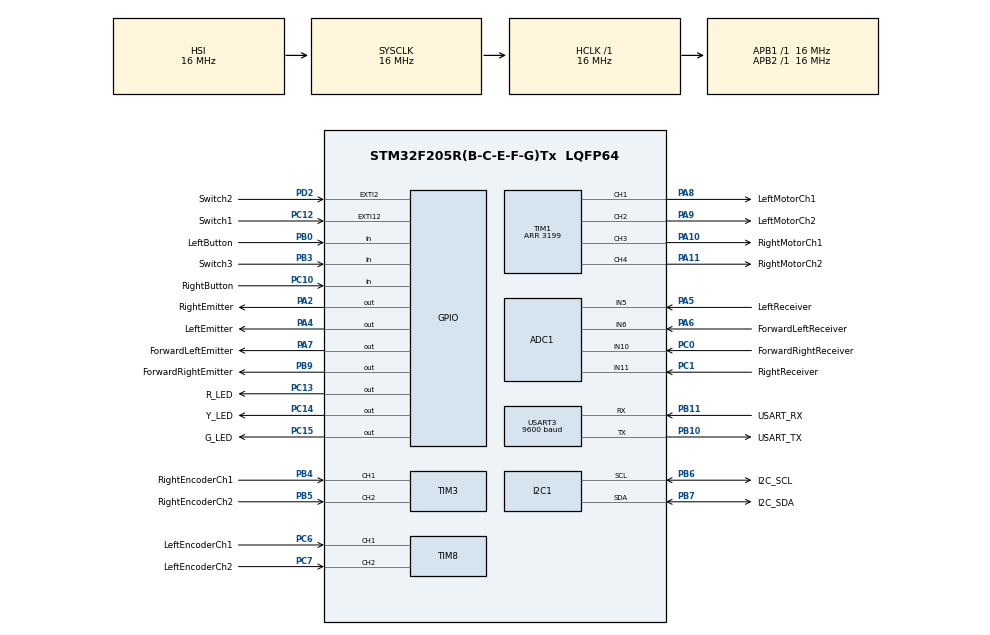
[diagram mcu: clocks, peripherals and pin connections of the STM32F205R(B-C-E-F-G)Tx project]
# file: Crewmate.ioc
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ADC1.Channel-0\#ChannelRegularConversion=ADC_CHANNEL_5
ADC1.ContinuousConvMode=ENABLE
ADC1.DMAContinuousRequests=ENABLE
ADC1.NbrOfConversionFlag=1
ADC1.master=1
Dma.ADC1.0.Direction=DMA_PERIPH_TO_MEMORY
Dma.ADC1.0.FIFOMode=DMA_FIFOMODE_DISABLE
Dma.ADC1.0.Instance=DMA2_Stream0
Dma.ADC1.0.MemDataAlignment=DMA_MDATAALIGN_HALFWORD
Dma.ADC1.0.MemInc=DMA_MINC_ENABLE
Dma.ADC1.0.Mode=DMA_CIRCULAR
Dma.ADC1.0.PeriphDataAlignment=DMA_PDATAALIGN_HALFWORD
Dma.ADC1.0.PeriphInc=DMA_PINC_DISABLE
Dma.ADC1.0.Priority=DMA_PRIORITY_LOW
Dma.Request0=ADC1
I2C1.I2C_Mode=I2C_Fast
Mcu.Family=STM32F2
Mcu.Name=STM32F205R(B-C-E-F-G)Tx
Mcu.Package=LQFP64
NVIC.DMA2_Stream0_IRQn=true\:0\:0\:false\:false\:true\:false\:true\:true
NVIC.EXTI15_10_IRQn=true\:0\:0\:false\:false\:true\:true\:true\:true
NVIC.EXTI2_IRQn=true\:0\:0\:false\:false\:true\:true\:true\:true
NVIC.PriorityGroup=NVIC_PRIORITYGROUP_4
NVIC.USART3_IRQn=true\:0\:0\:false\:false\:true\:true\:true\:true
PA10.GPIO_Label=RightMotorCh1
PA10.Signal=S_TIM1_CH3
PA11.GPIO_Label=RightMotorCh2
PA11.Signal=S_TIM1_CH4
PA2.GPIO_Label=RightEmitter
PA2.GPIO_PuPd=GPIO_NOPULL
PA2.Signal=GPIO_Output
PA3.GPIO_Label=Buzzer
PA3.Signal=S_TIM2_CH4
PA4.GPIO_Label=LeftEmitter
PA4.GPIO_PuPd=GPIO_NOPULL
PA4.Signal=GPIO_Output
PA5.GPIO_Label=LeftReceiver
PA5.Signal=ADCx_IN5
PA6.GPIO_Label=ForwardLeftReceiver
PA6.Signal=ADCx_IN6
PA7.GPIO_Label=ForwardLeftEmitter
PA7.GPIO_PuPd=GPIO_NOPULL
PA7.Signal=GPIO_Output
PA8.GPIO_Label=LeftMotorCh1
PA8.Signal=S_TIM1_CH1
PA9.GPIO_Label=LeftMotorCh2
PA9.Signal=S_TIM1_CH2
PB0.GPIO_Label=LeftButton
PB0.GPIO_PuPd=GPIO_PULLDOWN
PB0.Signal=GPIO_Input
PB10.GPIO_Label=USART_TX
PB10.Mode=Asynchronous
PB10.Signal=USART3_TX
PB11.GPIO_Label=USART_RX
PB11.Mode=Asynchronous
PB11.Signal=USART3_RX
PB3.GPIO_Label=Switch3
PB3.GPIO_PuPd=GPIO_PULLDOWN
PB3.Signal=GPIO_Input
PB4.GPIO_Label=RightEncoderCh1
PB4.Signal=S_TIM3_CH1
PB5.GPIO_Label=RightEncoderCh2
PB5.Signal=S_TIM3_CH2
PB6.GPIO_Label=I2C_SCL
PB6.Mode=I2C
PB6.Signal=I2C1_SCL
PB7.GPIO_Label=I2C_SDA
PB7.Mode=I2C
PB7.Signal=I2C1_SDA
PB9.GPIO_Label=ForwardRightEmitter
PB9.GPIO_PuPd=GPIO_NOPULL
PB9.Signal=GPIO_Output
PC0.GPIO_Label=ForwardRightReceiver
PC0.Signal=ADCx_IN10
PC1.GPIO_Label=RightReceiver
PC1.Signal=ADCx_IN11
PC10.GPIO_Label=RightButton
PC10.GPIO_PuPd=GPIO_PULLDOWN
PC10.Signal=GPIO_Input
PC12.GPIO_Label=Switch1
PC12.GPIO_ModeDefaultEXTI=GPIO_MODE_IT_RISING_FALLING
PC12.GPIO_PuPd=GPIO_PULLDOWN
PC12.Signal=GPXTI12
PC13.GPIO_Label=R_LED
PC13.Signal=GPIO_Output
PC14-OSC32_IN.GPIO_Label=Y_LED
PC14-OSC32_IN.Signal=GPIO_Output
PC15-OSC32_OUT.GPIO_Label=G_LED
PC15-OSC32_OUT.Signal=GPIO_Output
PC6.GPIO_Label=LeftEncoderCh1
PC6.Signal=S_TIM8_CH1
PC7.GPIO_Label=LeftEncoderCh2
PC7.Signal=S_TIM8_CH2
PD2.GPIO_Label=Switch2
PD2.GPIO_ModeDefaultEXTI=GPIO_MODE_IT_RISING_FALLING
PD2.GPIO_PuPd=GPIO_PULLDOWN
PD2.Signal=GPXTI2
ProjectManager.HeapSize=0x200
ProjectManager.StackSize=0x400
ProjectManager.TargetToolchain=STM32CubeIDE
RCC.48MHZClocksFreq_Value=48000000
RCC.AHBFreq_Value=16000000
RCC.APB1Freq_Value=16000000
RCC.APB2Freq_Value=16000000
RCC.CortexFreq_Value=16000000
RCC.HSE_VALUE=25000000
RCC.HSI_VALUE=16000000
RCC.LSE_VALUE=32768
RCC.SYSCLKFreq_VALUE=16000000
RCC.VCOOutputFreq_Value=192000000
SH.ADCx_IN10.0=ADC1_IN10,IN10
SH.ADCx_IN11.0=ADC1_IN11,IN11
SH.ADCx_IN5.0=ADC1_IN5,IN5
SH.ADCx_IN6.0=ADC1_IN6,IN6
SH.S_TIM1_CH1.0=TIM1_CH1,PWM Generation1 CH1
SH.S_TIM1_CH2.0=TIM1_CH2,PWM Generation2 CH2
SH.S_TIM1_CH3.0=TIM1_CH3,PWM Generation3 CH3
SH.S_TIM1_CH4.0=TIM1_CH4,PWM Generation4 CH4
SH.S_TIM2_CH4.0=TIM2_CH4
SH.S_TIM3_CH1.0=TIM3_CH1,Encoder_Interface
SH.S_TIM3_CH2.0=TIM3_CH2,Encoder_Interface
SH.S_TIM8_CH1.0=TIM8_CH1,Encoder_Interface
SH.S_TIM8_CH2.0=TIM8_CH2,Encoder_Interface
TIM1.Channel-PWM\ Generation1\ CH1=TIM_CHANNEL_1
TIM1.Channel-PWM\ Generation2\ CH2=TIM_CHANNEL_2
TIM1.Channel-PWM\ Generation3\ CH3=TIM_CHANNEL_3
TIM1.Channel-PWM\ Generation4\ CH4=TIM_CHANNEL_4
TIM1.Period=3199
TIM3.EncoderMode=TIM_ENCODERMODE_TI12
TIM8.EncoderMode=TIM_ENCODERMODE_TI12
USART3.BaudRate=9600
USART3.Mode=MODE_RX
USART3.VirtualMode=VM_ASYNC
board=custom

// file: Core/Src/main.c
/* USER CODE BEGIN Header */
/**
  ******************************************************************************
  * @file           : main.c
  * @brief          : Main program body
  ******************************************************************************
  * @attention
  *
  * Copyright (c) 2022 STMicroelectronics.
  * All rights reserved.
  *
  * This software is licensed under terms that can be found in the LICENSE file
  * in the root directory of this software component.
  * If no LICENSE file comes with this software, it is provided AS-IS.
  *
  ******************************************************************************
  */
/* USER CODE END Header */
#include "main.h"

/* USER CODE BEGIN Includes */

#include "encoders.h"
#include "motors.h"
#include "pid.h"
#include "controller.h"
#include "delay.h"
#include "irs.h"
#include "solver.h"
#include "utility.h"

/* USER CODE END Includes */

 ADC_HandleTypeDef hadc1;
DMA_HandleTypeDef hdma_adc1;

I2C_HandleTypeDef hi2c1;

TIM_HandleTypeDef htim1;
TIM_HandleTypeDef htim3;
TIM_HandleTypeDef htim8;

UART_HandleTypeDef huart3;

/* USER CODE BEGIN PV */

int16_t start_pressed = 0;

int16_t left_counts = 0;
int16_t right_counts = 0;

int16_t forwardLeftIRvalue = 0;
int16_t leftIRvalue = 0;
int16_t rightIRvalue = 0;
int16_t forwardRightIRvalue = 0;

int16_t irOffset_Set = 0;

int16_t walls_set = 0;

int16_t goal_forward_left = 0;
int16_t goal_forward_right = 0;
int16_t goal_left = 0;
int16_t goal_right = 0;

//float velocity_left = EXPLORE_SPEED;  // meters per second
//float velocity_right = EXPLORE_SPEED;

/* USER CODE END PV */

void SystemClock_Config(void);
static void MX_GPIO_Init(void);
static void MX_ADC1_Init(void);
static void MX_TIM1_Init(void);
static void MX_DMA_Init(void);
static void MX_TIM3_Init(void);
static void MX_TIM8_Init(void);
static void MX_I2C1_Init(void);
static void MX_USART3_UART_Init(void);

/* USER CODE BEGIN 0 */

#define MPU6050_ADDR 0xD0

#define SMPLRT_DIV_REG 0x19
#define GYRO_CONFIG_REG 0x1B
#define ACCEL_CONFIG_REG 0x1C
#define ACCEL_XOUT_H_REG 0x3B
#define TEMP_OUT_H_REG 0x41
#define GYRO_XOUT_H_REG 0x43
#define PWR_MGMT_1_REG 0x6B
#define WHO_AM_I_REG 0x75

#define BUFFER_LEN 1

uint8_t RX_BUFFER[BUFFER_LEN] = {'s'};

int16_t Accel_X_RAW = 0;
int16_t Accel_Y_RAW = 0;
int16_t Accel_Z_RAW = 0;

int16_t Gyro_X_RAW = 0;
int16_t Gyro_Y_RAW = 0;
int16_t Gyro_Z_RAW = 0;

float Ax, Ay, Az, Gx, Gy, Gz;

void MPU6050_Init (void)
{
	uint8_t check;
	uint8_t Data;

	// check device ID WHO_AM_I

	HAL_I2C_Mem_Read (&hi2c1, MPU6050_ADDR,WHO_AM_I_REG,1, &check, 1, 1000);

	if (check == 104)  // 0x68 will be returned by the sensor if everything goes well
	{
		// power management register 0X6B we should write all 0's to wake the sensor up
		Data = 0;
		HAL_I2C_Mem_Write(&hi2c1, MPU6050_ADDR, PWR_MGMT_1_REG, 1,&Data, 1, 1000);

		// Set DATA RATE of 1KHz by writing SMPLRT_DIV register
		Data = 0x07;
		HAL_I2C_Mem_Write(&hi2c1, MPU6050_ADDR, SMPLRT_DIV_REG, 1, &Data, 1, 1000);

		// Set accelerometer configuration in ACCEL_CONFIG Register
		// XA_ST=0,YA_ST=0,ZA_ST=0, FS_SEL=0 -> � 2g
		Data = 0x00;
		HAL_I2C_Mem_Write(&hi2c1, MPU6050_ADDR, ACCEL_CONFIG_REG, 1, &Data, 1, 1000);

		// Set Gyroscopic configuration in GYRO_CONFIG Register
		// XG_ST=0,YG_ST=0,ZG_ST=0, FS_SEL=0 -> � 250 �/s
		Data = 0x00;
		HAL_I2C_Mem_Write(&hi2c1, MPU6050_ADDR, GYRO_CONFIG_REG, 1, &Data, 1, 1000);
	}

}

void MPU6050_Read_Accel (void)
{
	uint8_t Rec_Data[6];

	// Read 6 BYTES of data starting from ACCEL_XOUT_H register

	HAL_I2C_Mem_Read (&hi2c1, MPU6050_ADDR, ACCEL_XOUT_H_REG, 1, Rec_Data, 6, 1000);

	Accel_X_RAW = (int16_t)(Rec_Data[0] << 8 | Rec_Data [1]);
	Accel_Y_RAW = (int16_t)(Rec_Data[2] << 8 | Rec_Data [3]);
	Accel_Z_RAW = (int16_t)(Rec_Data[4] << 8 | Rec_Data [5]);

	/*** convert the RAW values into acceleration in 'g'
	     we have to divide according to the Full scale value set in FS_SEL
	     I have configured FS_SEL = 0. So I am dividing by 16384.0
	     for more details check ACCEL_CONFIG Register              ****/

	Ax = Accel_X_RAW/16384.0;
	Ay = Accel_Y_RAW/16384.0;
	Az = Accel_Z_RAW/16384.0;
}

void MPU6050_Read_Gyro (void)
{
	uint8_t Rec_Data[6];

	// Read 6 BYTES of data starting from GYRO_XOUT_H register

	HAL_I2C_Mem_Read (&hi2c1, MPU6050_ADDR, GYRO_XOUT_H_REG, 1, Rec_Data, 6, 1000);

	Gyro_X_RAW = (int16_t)(Rec_Data[0] << 8 | Rec_Data [1]);
	Gyro_Y_RAW = (int16_t)(Rec_Data[2] << 8 | Rec_Data [3]);
	Gyro_Z_RAW = (int16_t)(Rec_Data[4] << 8 | Rec_Data [5]);

	/*** convert the RAW values into dps (�/s)
	     we have to divide according to the Full scale value set in FS_SEL
	     I have configured FS_SEL = 0. So I am dividing by 131.0
	     for more details check GYRO_CONFIG Register              ****/

	Gx = Gyro_X_RAW/131.0;
	Gy = Gyro_Y_RAW/131.0;
	Gz = Gyro_Z_RAW/131.0;
}

void solve(Algorithm alg) {
	Action nextMove = solver(alg);
	switch(nextMove) {
		case FORWARD:
//			move(1);
			if (alg == FLOODFILL)
			{
				int extra_moves = foresight(); // Already has curr position and heading
				for (int i = 0; i < extra_moves; i++)
				{
					solver(FLOODFILL);
				}
				move(1 + extra_moves);
			}
			else
				move(1);
			break;
		case LEFT:
			turn(-1);
			break;
		case RIGHT:
			turn(1);
			break;
		case IDLE:
			break;
	}
}

/* USER CODE END 0 */

int main(void)
{

  /* MCU Configuration--------------------------------------------------------*/

  /* Reset of all peripherals, Initializes the Flash interface and the Systick. */
  HAL_Init();

  /* USER CODE BEGIN Init */

  Delay_Init();

  /* USER CODE END Init */

  /* Configure the system clock */
  SystemClock_Config();

  /* Initialize all configured peripherals */
  MX_GPIO_Init();
  MX_DMA_Init();
  MX_ADC1_Init();
  MX_TIM1_Init();
  MX_TIM3_Init();
  MX_TIM8_Init();
  MX_I2C1_Init();
  MX_USART3_UART_Init();
  /* USER CODE BEGIN 2 */

  HAL_UART_Receive_IT(&huart3, RX_BUFFER, BUFFER_LEN);
  MPU6050_Init();

  HAL_TIM_Encoder_Start(&htim3, TIM_CHANNEL_ALL);
  HAL_TIM_Encoder_Start(&htim8, TIM_CHANNEL_ALL);

  HAL_TIM_PWM_Start(&htim1, TIM_CHANNEL_1);
  HAL_TIM_PWM_Start(&htim1, TIM_CHANNEL_2);
  HAL_TIM_PWM_Start(&htim1, TIM_CHANNEL_3);
  HAL_TIM_PWM_Start(&htim1, TIM_CHANNEL_4);

  HAL_Init();

	if (HAL_GPIO_ReadPin(Switch1_GPIO_Port, Switch1_Pin) == GPIO_PIN_SET)	// Read maze on start
		HAL_GPIO_WritePin(R_LED_GPIO_Port, R_LED_Pin, GPIO_PIN_SET);
	else
		HAL_GPIO_WritePin(R_LED_GPIO_Port, R_LED_Pin, GPIO_PIN_RESET);

	if (HAL_GPIO_ReadPin(Switch2_GPIO_Port, Switch2_Pin) == GPIO_PIN_SET)	// Save maze on finish
		HAL_GPIO_WritePin(Y_LED_GPIO_Port, Y_LED_Pin, GPIO_PIN_SET);
	else
		HAL_GPIO_WritePin(Y_LED_GPIO_Port, Y_LED_Pin, GPIO_PIN_RESET);

//	if (HAL_GPIO_ReadPin(Switch3_GPIO_Port, Switch3_Pin) == GPIO_PIN_SET)	// Do Floodfill
//		HAL_GPIO_WritePin(G_LED_GPIO_Port, G_LED_Pin, GPIO_PIN_SET);
//	else
//		HAL_GPIO_WritePin(G_LED_GPIO_Port, G_LED_Pin, GPIO_PIN_RESET);

  /* USER CODE END 2 */

  /* Infinite loop */
  /* USER CODE BEGIN WHILE */
  while (1)
  {

	  MPU6050_Read_Gyro();
	  MPU6050_Read_Accel();

	  forwardLeftIRvalue = readIR(IR_FORWARD_LEFT);
	  leftIRvalue = readIR(IR_LEFT);
	  rightIRvalue = readIR(IR_RIGHT);
	  forwardRightIRvalue = readIR(IR_FORWARD_RIGHT);

	  left_counts = getLeftEncoderCounts();
	  right_counts = getRightEncoderCounts();

		if (RX_BUFFER[0] == 'g')	// Bluetooth
			HAL_GPIO_WritePin(G_LED_GPIO_Port, G_LED_Pin, GPIO_PIN_SET);
		else
			HAL_GPIO_WritePin(G_LED_GPIO_Port, G_LED_Pin, GPIO_PIN_RESET);

	  if (HAL_GPIO_ReadPin(LeftButton_GPIO_Port, LeftButton_Pin))
	  {
		  setIRGoals(readIR(IR_FORWARD_LEFT), readIR(IR_FORWARD_RIGHT), readIR(IR_LEFT), readIR(IR_RIGHT));
		  irOffset_Set = 1;
		  loadMaze();
	  }

	  if (HAL_GPIO_ReadPin(RightButton_GPIO_Port, RightButton_Pin))
	  {
		  start_pressed = 1;
	  }
	  if (RX_BUFFER[0] == 'g')
	  {
		  move(0);
		  move(1);
		  RX_BUFFER[0] = 's';
	  }
	  if (RX_BUFFER[0] == 'a')
	  {
		  move(0);
		  turn(-1);
		  RX_BUFFER[0] = 's';
	  }
	  if (RX_BUFFER[0] == 'd')
	  {
		  move(0);
		  turn(1);
		  RX_BUFFER[0] = 's';
	  }

/*
 * 3 Modes: Regular, Explore, Zoom
 *
 * Regular: move cell by cell, stopping in the middle of each cell
 * 			simply run the solve function
 *
 * Explore: accelerate to explore velocity and only decelerate when we need to turn
 * 			run the explore function in controller.c
 *
 * Zoom: we know what the maze looks like, so we can run multiple floodfill moves at once
 * 			not implemented yet
 *
 *
 */
	  if (start_pressed)
	  {
		  move(0);

		  if (HAL_GPIO_ReadPin(Switch3_GPIO_Port, Switch3_Pin) == GPIO_PIN_SET)
			  solve(FLOODFILL);
		  else
			  solve(DEAD);
//		  if(frontWallCheck())
//		  {
//			  frontCorrection();
//		  }

//////////// INSERT YOUR COMMANDS BELOW HERE /////////////

/*
*
* 	move(x);  	// Replace x with the amount of squares you want to move forward
*
* 	turn(x);	// Replace x with the amount of 90 degree right turns you want to do
*
*/
//		  turn(5);

//////////// INSERT YOUR COMMANDS ABOVE HERE /////////////

		  // Demo Maze
//		  move(1);
//		  move(1);
//		  turn(-1);
//		  move(1);
//		  move(1);
//		  turn(-1);
//		  move(1);
//		  turn(-1);
//		  move(1);
//		  turn(1);
//		  move(1);
//		  turn(1);
//		  move(1);
//		  turn(1);
//		  turn(1);
//		  move(1);
//		  turn(-1);
//		  move(1);
//		  turn(-1);
//		  move(1);
//		  turn(1);
//		  move(1);
//		  turn(1);
//		  move(1);
//		  move(1);
//		  turn(1);
//		  move(1);
//		  move(1);
//		  turn(1);
//		  turn(1);

		  // One unit corner
//		  move(0);
//		  move(1);
//		  turn(1);
//		  move(1);
//		  turn(-2);
//		  move(1);
//		  turn(-1);
//		  move(1);
//		  turn(2);

// 		  Two unit straight line
//		  move(0);
//		  move(1);
//		  move(1);
//		  turn(1);
//		  turn(1);
//		  move(1);
//		  move(1);
//		  turn(1);
//		  turn(1);

// //		  360 Degrees
//		  move(0);
//		  turn(1);
//		  turn(1);
//		  turn(1);
//		  turn(1);

//		  start_pressed = 0;
	  }

    /* USER CODE END WHILE */

  }
}

void SystemClock_Config(void)
{
  RCC_OscInitTypeDef RCC_OscInitStruct = {0};
  RCC_ClkInitTypeDef RCC_ClkInitStruct = {0};

  /** Initializes the RCC Oscillators according to the specified parameters
  * in the RCC_OscInitTypeDef structure.
  */
  RCC_OscInitStruct.OscillatorType = RCC_OSCILLATORTYPE_HSI;
  RCC_OscInitStruct.HSIState = RCC_HSI_ON;
  RCC_OscInitStruct.HSICalibrationValue = RCC_HSICALIBRATION_DEFAULT;
  RCC_OscInitStruct.PLL.PLLState = RCC_PLL_NONE;
  if (HAL_RCC_OscConfig(&RCC_OscInitStruct) != HAL_OK)
  {
    Error_Handler();
  }

  /** Initializes the CPU, AHB and APB buses clocks
  */
  RCC_ClkInitStruct.ClockType = RCC_CLOCKTYPE_HCLK|RCC_CLOCKTYPE_SYSCLK
                              |RCC_CLOCKTYPE_PCLK1|RCC_CLOCKTYPE_PCLK2;
  RCC_ClkInitStruct.SYSCLKSource = RCC_SYSCLKSOURCE_HSI;
  RCC_ClkInitStruct.AHBCLKDivider = RCC_SYSCLK_DIV1;
  RCC_ClkInitStruct.APB1CLKDivider = RCC_HCLK_DIV1;
  RCC_ClkInitStruct.APB2CLKDivider = RCC_HCLK_DIV1;

  if (HAL_RCC_ClockConfig(&RCC_ClkInitStruct, FLASH_LATENCY_0) != HAL_OK)
  {
    Error_Handler();
  }
}

static void MX_ADC1_Init(void)
{

  ADC_ChannelConfTypeDef sConfig = {0};

  /** Configure the global features of the ADC (Clock, Resolution, Data Alignment and number of conversion)
  */
  hadc1.Instance = ADC1;
  hadc1.Init.ClockPrescaler = ADC_CLOCK_SYNC_PCLK_DIV2;
  hadc1.Init.Resolution = ADC_RESOLUTION_12B;
  hadc1.Init.ScanConvMode = DISABLE;
  hadc1.Init.ContinuousConvMode = ENABLE;
  hadc1.Init.DiscontinuousConvMode = DISABLE;
  hadc1.Init.ExternalTrigConvEdge = ADC_EXTERNALTRIGCONVEDGE_NONE;
  hadc1.Init.ExternalTrigConv = ADC_SOFTWARE_START;
  hadc1.Init.DataAlign = ADC_DATAALIGN_RIGHT;
  hadc1.Init.NbrOfConversion = 1;
  hadc1.Init.DMAContinuousRequests = ENABLE;
  hadc1.Init.EOCSelection = ADC_EOC_SINGLE_CONV;
  if (HAL_ADC_Init(&hadc1) != HAL_OK)
  {
    Error_Handler();
  }

  /** Configure for the selected ADC regular channel its corresponding rank in the sequencer and its sample time.
  */
  sConfig.Channel = ADC_CHANNEL_5;
  sConfig.Rank = 1;
  sConfig.SamplingTime = ADC_SAMPLETIME_3CYCLES;
  if (HAL_ADC_ConfigChannel(&hadc1, &sConfig) != HAL_OK)
  {
    Error_Handler();
  }

}

static void MX_I2C1_Init(void)
{

  hi2c1.Instance = I2C1;
  hi2c1.Init.ClockSpeed = 400000;
  hi2c1.Init.DutyCycle = I2C_DUTYCYCLE_2;
  hi2c1.Init.OwnAddress1 = 0;
  hi2c1.Init.AddressingMode = I2C_ADDRESSINGMODE_7BIT;
  hi2c1.Init.DualAddressMode = I2C_DUALADDRESS_DISABLE;
  hi2c1.Init.OwnAddress2 = 0;
  hi2c1.Init.GeneralCallMode = I2C_GENERALCALL_DISABLE;
  hi2c1.Init.NoStretchMode = I2C_NOSTRETCH_DISABLE;
  if (HAL_I2C_Init(&hi2c1) != HAL_OK)
  {
    Error_Handler();
  }

}

static void MX_TIM1_Init(void)
{

  TIM_MasterConfigTypeDef sMasterConfig = {0};
  TIM_OC_InitTypeDef sConfigOC = {0};
  TIM_BreakDeadTimeConfigTypeDef sBreakDeadTimeConfig = {0};

  htim1.Instance = TIM1;
  htim1.Init.Prescaler = 0;
  htim1.Init.CounterMode = TIM_COUNTERMODE_UP;
  htim1.Init.Period = 3199;
  htim1.Init.ClockDivision = TIM_CLOCKDIVISION_DIV1;
  htim1.Init.RepetitionCounter = 0;
  htim1.Init.AutoReloadPreload = TIM_AUTORELOAD_PRELOAD_DISABLE;
  if (HAL_TIM_PWM_Init(&htim1) != HAL_OK)
  {
    Error_Handler();
  }
  sMasterConfig.MasterOutputTrigger = TIM_TRGO_RESET;
  sMasterConfig.MasterSlaveMode = TIM_MASTERSLAVEMODE_DISABLE;
  if (HAL_TIMEx_MasterConfigSynchronization(&htim1, &sMasterConfig) != HAL_OK)
  {
    Error_Handler();
  }
  sConfigOC.OCMode = TIM_OCMODE_PWM1;
  sConfigOC.Pulse = 0;
  sConfigOC.OCPolarity = TIM_OCPOLARITY_HIGH;
  sConfigOC.OCNPolarity = TIM_OCNPOLARITY_HIGH;
  sConfigOC.OCFastMode = TIM_OCFAST_DISABLE;
  sConfigOC.OCIdleState = TIM_OCIDLESTATE_RESET;
  sConfigOC.OCNIdleState = TIM_OCNIDLESTATE_RESET;
  if (HAL_TIM_PWM_ConfigChannel(&htim1, &sConfigOC, TIM_CHANNEL_1) != HAL_OK)
  {
    Error_Handler();
  }
  if (HAL_TIM_PWM_ConfigChannel(&htim1, &sConfigOC, TIM_CHANNEL_2) != HAL_OK)
  {
    Error_Handler();
  }
  if (HAL_TIM_PWM_ConfigChannel(&htim1, &sConfigOC, TIM_CHANNEL_3) != HAL_OK)
  {
    Error_Handler();
  }
  if (HAL_TIM_PWM_ConfigChannel(&htim1, &sConfigOC, TIM_CHANNEL_4) != HAL_OK)
  {
    Error_Handler();
  }
  sBreakDeadTimeConfig.OffStateRunMode = TIM_OSSR_DISABLE;
  sBreakDeadTimeConfig.OffStateIDLEMode = TIM_OSSI_DISABLE;
  sBreakDeadTimeConfig.LockLevel = TIM_LOCKLEVEL_OFF;
  sBreakDeadTimeConfig.DeadTime = 0;
  sBreakDeadTimeConfig.BreakState = TIM_BREAK_DISABLE;
  sBreakDeadTimeConfig.BreakPolarity = TIM_BREAKPOLARITY_HIGH;
  sBreakDeadTimeConfig.AutomaticOutput = TIM_AUTOMATICOUTPUT_DISABLE;
  if (HAL_TIMEx_ConfigBreakDeadTime(&htim1, &sBreakDeadTimeConfig) != HAL_OK)
  {
    Error_Handler();
  }
  HAL_TIM_MspPostInit(&htim1);

}

static void MX_TIM3_Init(void)
{

  TIM_Encoder_InitTypeDef sConfig = {0};
  TIM_MasterConfigTypeDef sMasterConfig = {0};

  htim3.Instance = TIM3;
  htim3.Init.Prescaler = 0;
  htim3.Init.CounterMode = TIM_COUNTERMODE_UP;
  htim3.Init.Period = 65535;
  htim3.Init.ClockDivision = TIM_CLOCKDIVISION_DIV1;
  htim3.Init.AutoReloadPreload = TIM_AUTORELOAD_PRELOAD_DISABLE;
  sConfig.EncoderMode = TIM_ENCODERMODE_TI12;
  sConfig.IC1Polarity = TIM_ICPOLARITY_RISING;
  sConfig.IC1Selection = TIM_ICSELECTION_DIRECTTI;
  sConfig.IC1Prescaler = TIM_ICPSC_DIV1;
  sConfig.IC1Filter = 0;
  sConfig.IC2Polarity = TIM_ICPOLARITY_RISING;
  sConfig.IC2Selection = TIM_ICSELECTION_DIRECTTI;
  sConfig.IC2Prescaler = TIM_ICPSC_DIV1;
  sConfig.IC2Filter = 0;
  if (HAL_TIM_Encoder_Init(&htim3, &sConfig) != HAL_OK)
  {
    Error_Handler();
  }
  sMasterConfig.MasterOutputTrigger = TIM_TRGO_RESET;
  sMasterConfig.MasterSlaveMode = TIM_MASTERSLAVEMODE_DISABLE;
  if (HAL_TIMEx_MasterConfigSynchronization(&htim3, &sMasterConfig) != HAL_OK)
  {
    Error_Handler();
  }

}

static void MX_TIM8_Init(void)
{

  TIM_Encoder_InitTypeDef sConfig = {0};
  TIM_MasterConfigTypeDef sMasterConfig = {0};

  htim8.Instance = TIM8;
  htim8.Init.Prescaler = 0;
  htim8.Init.CounterMode = TIM_COUNTERMODE_UP;
  htim8.Init.Period = 65535;
  htim8.Init.ClockDivision = TIM_CLOCKDIVISION_DIV1;
  htim8.Init.RepetitionCounter = 0;
  htim8.Init.AutoReloadPreload = TIM_AUTORELOAD_PRELOAD_DISABLE;
  sConfig.EncoderMode = TIM_ENCODERMODE_TI12;
  sConfig.IC1Polarity = TIM_ICPOLARITY_RISING;
  sConfig.IC1Selection = TIM_ICSELECTION_DIRECTTI;
  sConfig.IC1Prescaler = TIM_ICPSC_DIV1;
  sConfig.IC1Filter = 0;
  sConfig.IC2Polarity = TIM_ICPOLARITY_RISING;
  sConfig.IC2Selection = TIM_ICSELECTION_DIRECTTI;
  sConfig.IC2Prescaler = TIM_ICPSC_DIV1;
  sConfig.IC2Filter = 0;
  if (HAL_TIM_Encoder_Init(&htim8, &sConfig) != HAL_OK)
  {
    Error_Handler();
  }
  sMasterConfig.MasterOutputTrigger = TIM_TRGO_RESET;
  sMasterConfig.MasterSlaveMode = TIM_MASTERSLAVEMODE_DISABLE;
  if (HAL_TIMEx_MasterConfigSynchronization(&htim8, &sMasterConfig) != HAL_OK)
  {
    Error_Handler();
  }

}

static void MX_USART3_UART_Init(void)
{

  huart3.Instance = USART3;
  huart3.Init.BaudRate = 9600;
  huart3.Init.WordLength = UART_WORDLENGTH_8B;
  huart3.Init.StopBits = UART_STOPBITS_1;
  huart3.Init.Parity = UART_PARITY_NONE;
  huart3.Init.Mode = UART_MODE_RX;
  huart3.Init.HwFlowCtl = UART_HWCONTROL_NONE;
  huart3.Init.OverSampling = UART_OVERSAMPLING_16;
  if (HAL_UART_Init(&huart3) != HAL_OK)
  {
    Error_Handler();
  }

}

static void MX_DMA_Init(void)
{

  /* DMA controller clock enable */
  __HAL_RCC_DMA2_CLK_ENABLE();

  /* DMA interrupt init */
  /* DMA2_Stream0_IRQn interrupt configuration */
  HAL_NVIC_SetPriority(DMA2_Stream0_IRQn, 0, 0);
  HAL_NVIC_EnableIRQ(DMA2_Stream0_IRQn);

}

static void MX_GPIO_Init(void)
{
  GPIO_InitTypeDef GPIO_InitStruct = {0};

  /* GPIO Ports Clock Enable */
  __HAL_RCC_GPIOC_CLK_ENABLE();
  __HAL_RCC_GPIOA_CLK_ENABLE();
  __HAL_RCC_GPIOB_CLK_ENABLE();
  __HAL_RCC_GPIOD_CLK_ENABLE();

  /*Configure GPIO pin Output Level */
  HAL_GPIO_WritePin(GPIOC, R_LED_Pin|Y_LED_Pin|G_LED_Pin, GPIO_PIN_RESET);

  /*Configure GPIO pin Output Level */
  HAL_GPIO_WritePin(GPIOA, RightEmitter_Pin|LeftEmitter_Pin|ForwardLeftEmitter_Pin, GPIO_PIN_RESET);

  /*Configure GPIO pin Output Level */
  HAL_GPIO_WritePin(ForwardRightEmitter_GPIO_Port, ForwardRightEmitter_Pin, GPIO_PIN_RESET);

  /*Configure GPIO pins : R_LED_Pin Y_LED_Pin G_LED_Pin */
  GPIO_InitStruct.Pin = R_LED_Pin|Y_LED_Pin|G_LED_Pin;
  GPIO_InitStruct.Mode = GPIO_MODE_OUTPUT_PP;
  GPIO_InitStruct.Pull = GPIO_NOPULL;
  GPIO_InitStruct.Speed = GPIO_SPEED_FREQ_LOW;
  HAL_GPIO_Init(GPIOC, &GPIO_InitStruct);

  /*Configure GPIO pins : RightEmitter_Pin LeftEmitter_Pin ForwardLeftEmitter_Pin */
  GPIO_InitStruct.Pin = RightEmitter_Pin|LeftEmitter_Pin|ForwardLeftEmitter_Pin;
  GPIO_InitStruct.Mode = GPIO_MODE_OUTPUT_PP;
  GPIO_InitStruct.Pull = GPIO_NOPULL;
  GPIO_InitStruct.Speed = GPIO_SPEED_FREQ_LOW;
  HAL_GPIO_Init(GPIOA, &GPIO_InitStruct);

  /*Configure GPIO pin : Buzzer_Pin */
  GPIO_InitStruct.Pin = Buzzer_Pin;
  GPIO_InitStruct.Mode = GPIO_MODE_AF_PP;
  GPIO_InitStruct.Pull = GPIO_NOPULL;
  GPIO_InitStruct.Speed = GPIO_SPEED_FREQ_LOW;
  GPIO_InitStruct.Alternate = GPIO_AF1_TIM2;
  HAL_GPIO_Init(Buzzer_GPIO_Port, &GPIO_InitStruct);

  /*Configure GPIO pins : LeftButton_Pin Switch3_Pin */
  GPIO_InitStruct.Pin = LeftButton_Pin|Switch3_Pin;
  GPIO_InitStruct.Mode = GPIO_MODE_INPUT;
  GPIO_InitStruct.Pull = GPIO_PULLDOWN;
  HAL_GPIO_Init(GPIOB, &GPIO_InitStruct);

  /*Configure GPIO pin : RightButton_Pin */
  GPIO_InitStruct.Pin = RightButton_Pin;
  GPIO_InitStruct.Mode = GPIO_MODE_INPUT;
  GPIO_InitStruct.Pull = GPIO_PULLDOWN;
  HAL_GPIO_Init(RightButton_GPIO_Port, &GPIO_InitStruct);

  /*Configure GPIO pin : Switch1_Pin */
  GPIO_InitStruct.Pin = Switch1_Pin;
  GPIO_InitStruct.Mode = GPIO_MODE_IT_RISING_FALLING;
  GPIO_InitStruct.Pull = GPIO_PULLDOWN;
  HAL_GPIO_Init(Switch1_GPIO_Port, &GPIO_InitStruct);

  /*Configure GPIO pin : Switch2_Pin */
  GPIO_InitStruct.Pin = Switch2_Pin;
  GPIO_InitStruct.Mode = GPIO_MODE_IT_RISING_FALLING;
  GPIO_InitStruct.Pull = GPIO_PULLDOWN;
  HAL_GPIO_Init(Switch2_GPIO_Port, &GPIO_InitStruct);

  /*Configure GPIO pin : ForwardRightEmitter_Pin */
  GPIO_InitStruct.Pin = ForwardRightEmitter_Pin;
  GPIO_InitStruct.Mode = GPIO_MODE_OUTPUT_PP;
  GPIO_InitStruct.Pull = GPIO_NOPULL;
  GPIO_InitStruct.Speed = GPIO_SPEED_FREQ_LOW;
  HAL_GPIO_Init(ForwardRightEmitter_GPIO_Port, &GPIO_InitStruct);

  /* EXTI interrupt init*/
  HAL_NVIC_SetPriority(EXTI2_IRQn, 0, 0);
  HAL_NVIC_EnableIRQ(EXTI2_IRQn);

  HAL_NVIC_SetPriority(EXTI15_10_IRQn, 0, 0);
  HAL_NVIC_EnableIRQ(EXTI15_10_IRQn);

}

/* USER CODE BEGIN 4 */

ADC_HandleTypeDef* Get_HADC1_Ptr(void)
{
	return &hadc1;
}

void HAL_GPIO_EXTI_Callback(uint16_t GPIO_PIN)
{
	if (GPIO_PIN == Switch1_Pin)
	{
		if (HAL_GPIO_ReadPin(Switch1_GPIO_Port, Switch1_Pin) == GPIO_PIN_SET)
			HAL_GPIO_WritePin(R_LED_GPIO_Port, R_LED_Pin, GPIO_PIN_SET);
		else
			HAL_GPIO_WritePin(R_LED_GPIO_Port, R_LED_Pin, GPIO_PIN_RESET);
	}
	if (GPIO_PIN == Switch2_Pin)
	{
		if (HAL_GPIO_ReadPin(Switch2_GPIO_Port, Switch2_Pin) == GPIO_PIN_SET)
			HAL_GPIO_WritePin(Y_LED_GPIO_Port, Y_LED_Pin, GPIO_PIN_SET);
		else
			HAL_GPIO_WritePin(Y_LED_GPIO_Port, Y_LED_Pin, GPIO_PIN_RESET);
	}
}

void HAL_UART_RxCpltCallback(UART_HandleTypeDef *huart)
{
	if(huart->Instance == huart3.Instance)
	{
		HAL_UART_Receive_IT(&huart3, RX_BUFFER, BUFFER_LEN);
	}
}

/* USER CODE END 4 */

void Error_Handler(void)
{
  __disable_irq();
  while (1)
  {
  }
}
